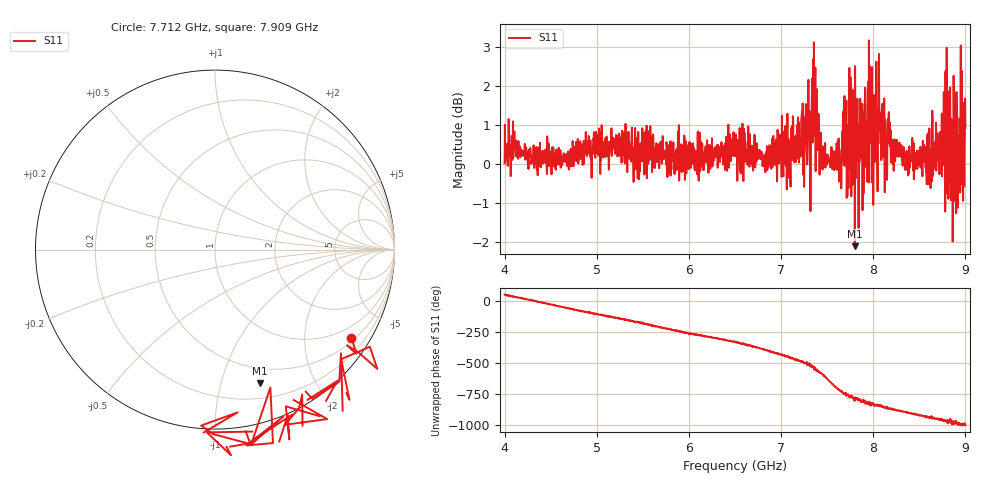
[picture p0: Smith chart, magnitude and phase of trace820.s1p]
! Created with skrf 1.8.0 (http://scikit-rf.org).
# Hz S RI R 50.0
!freq ReS11 ImS11
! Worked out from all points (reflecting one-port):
!   1601 points, 4 GHz to 9 GHz, reference 50 ohm
!   lowest |S11| = -2.1 dB at 7.8 GHz (marker M1), VSWR 8.28, Z = 17.3 - j66.7 ohm
!   phase of S11 starts at 53 deg and turns -1050 deg over the sweep
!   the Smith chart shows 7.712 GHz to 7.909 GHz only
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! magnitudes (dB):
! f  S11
! 4 GHz  0.0
! 4.1 GHz  0.5
! 4.625 GHz  0.0
! 5.25 GHz  0.2
! 5.875 GHz  0.1
! 6.5 GHz  0.2
! 6.819 GHz  0.2
! 7.125 GHz  0.4
! 7.262 GHz  1.2
! 7.284 GHz  0.1
! 7.328 GHz  1.2
! 7.347 GHz  2.7
! 7.381 GHz  1.4
! 7.441 GHz  0.3
! 7.631 GHz  0.4
! 7.684 GHz  1.1
! 7.75 GHz  0.4
! 7.8 GHz  -2.1
! 7.909 GHz  1.6
! 7.962 GHz  2.5
! 8.022 GHz  0.1
! 8.053 GHz  0.9
! 8.375 GHz  0.2
! 8.734 GHz  0.4
! 8.788 GHz  0.7
! 8.822 GHz  0.3
! 8.841 GHz  0.4
! 9 GHz  0.9
